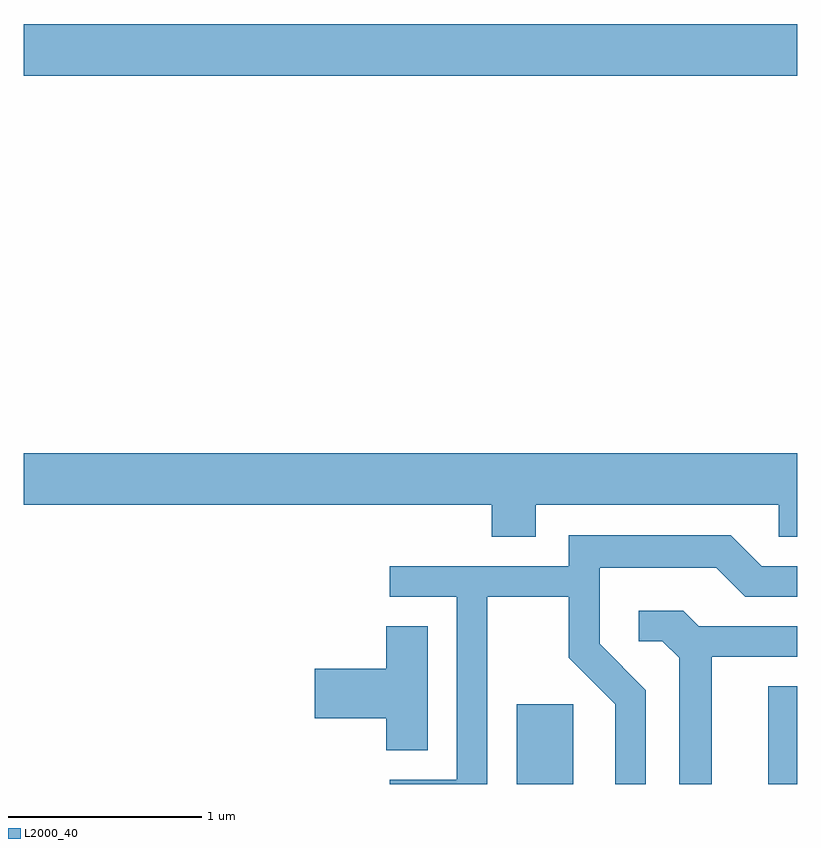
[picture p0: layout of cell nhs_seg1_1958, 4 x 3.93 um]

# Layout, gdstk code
import gdstk
lib = gdstk.Library(unit=1e-6, precision=1e-09)
def R(c, l, rs):  # rectangles x0, y0, x1, y1
    for r in rs: c.add(gdstk.rectangle(r[:2], r[2:], *l))
def P(c, l, *ps):  # polygons
    for p in ps: c.add(gdstk.Polygon(p, *l))
L2000_40 = (2000, 40)

nhs_seg1_1958 = lib.new_cell('nhs_seg1_1958')
R(nhs_seg1_1958, L2000_40, [(248.161,873.712,248.454,874.124), (249.461,873.712,249.611,874.219), (245.611,877.376,249.611,877.644)])
P(nhs_seg1_1958, L2000_40, [(248.259,875.156),(249.516,875.156),(249.516,874.991),(249.611,874.991),(249.611,875.424),(245.611,875.424),(245.611,875.156),(248.031,875.156),(248.031,874.991),(248.259,874.991)],
  [(248.009,874.681),(248.431,874.681),(248.431,874.364),(248.671,874.124),(248.671,873.712),(248.829,873.712),(248.829,874.197),(248.589,874.437),(248.589,874.831),(249.194,874.831),(249.344,874.681),(249.611,874.681),(249.611,874.839),(249.427,874.839),(249.267,874.999),(248.431,874.999),(248.431,874.839),(247.503,874.839),(247.503,874.681),(247.851,874.681),(247.851,873.734),(247.503,873.734),(247.503,873.712),(248.009,873.712)],
  [(249.169,874.371),(249.611,874.371),(249.611,874.529),(249.102,874.529),(249.022,874.609),(248.793,874.609),(248.793,874.451),(248.914,874.451),(249.001,874.364),(249.001,873.712),(249.169,873.712)],
  [(247.699,874.529),(247.486,874.529),(247.486,874.309),(247.116,874.309),(247.116,874.051),(247.486,874.051),(247.486,873.886),(247.699,873.886)])

lib.write_gds('nhs_seg1_1958.gds')
